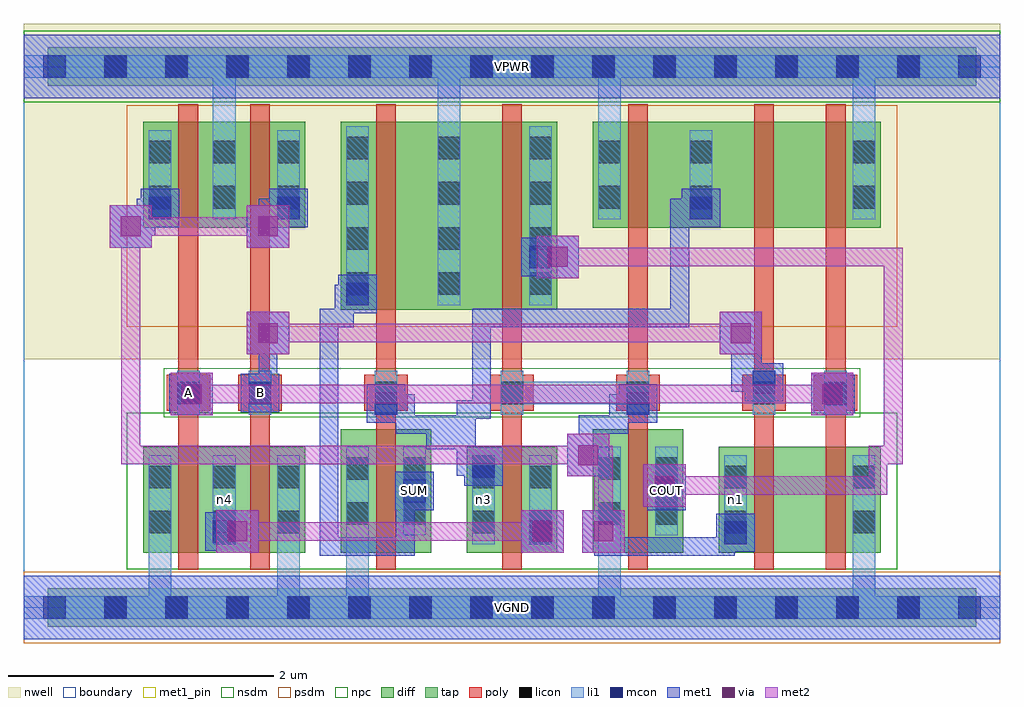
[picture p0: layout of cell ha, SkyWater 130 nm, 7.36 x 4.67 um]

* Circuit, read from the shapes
.subckt ha A B COUT SUM VGND VPWR n1 n3 n4
XM1 n4 A VGND VGND sky130_fd_pr__nfet_01v8 w=0.8 l=0.15
XM2 VGND B n4 VGND sky130_fd_pr__nfet_01v8 w=0.8 l=0.15
XM3 SUM n3 VGND VGND sky130_fd_pr__nfet_01v8 w=0.93 l=0.15
XM4 n4 n1 n3 VGND sky130_fd_pr__nfet_01v8 w=0.8 l=0.15
XM5 COUT n1 VGND VGND sky130_fd_pr__nfet_01v8 w=0.93 l=0.15
XM6 n2 B n1 VGND sky130_fd_pr__nfet_01v8 w=0.8 l=0.15
XM7 VGND A n2 VGND sky130_fd_pr__nfet_01v8 w=0.8 l=0.15
XM8 VPWR A n1 VPWR sky130_fd_pr__pfet_01v8 w=0.8 l=0.15
XM9 n1 B VPWR VPWR sky130_fd_pr__pfet_01v8 w=0.8 l=0.15
XM10 VPWR n3 SUM VPWR sky130_fd_pr__pfet_01v8 w=1.42 l=0.15
XM11 COUT n1 VPWR VPWR sky130_fd_pr__pfet_01v8 w=1.42 l=0.15
XM12 n3 n1 VPWR VPWR sky130_fd_pr__pfet_01v8 w=0.8 l=0.15
XM13 n5 B n3 VPWR sky130_fd_pr__pfet_01v8 w=0.8 l=0.15
XM14 VPWR A n5 VPWR sky130_fd_pr__pfet_01v8 w=0.8 l=0.15
.ends

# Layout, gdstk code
import gdstk
lib = gdstk.Library(unit=1e-6, precision=1e-09)
def R(c, l, rs):  # rectangles x0, y0, x1, y1
    for r in rs: c.add(gdstk.rectangle(r[:2], r[2:], *l))
def A(c, l, x, y, w, h, nx, ny, dx, dy):  # array of equal rectangles
    R(c, l, [(x+i*dx, y+j*dy, x+i*dx+w, y+j*dy+h) for i in range(nx) for j in range(ny)])
nwell = (64, 20)
diff = (65, 20)
tap = (65, 44)
poly = (66, 20)
licon = (66, 44)
li1 = (67, 20)
mcon = (67, 44)
met1_pin = (68, 16)
met1 = (68, 20)
via = (68, 44)
met2 = (69, 20)
nsdm = (93, 44)
psdm = (94, 20)
npc = (95, 20)
boundary = (235, 4)

c_ha = lib.new_cell('ha')
R(c_ha, nwell, [(0,1.875,7.36,4.405)])
R(c_ha, diff, [(0.9,0.415,2.12,1.215), (2.39,0.415,3.07,1.345), (3.34,0.415,4.02,1.215), (4.29,0.415,4.97,1.345), (5.24,0.415,6.46,1.215), (2.39,2.245,4.02,3.665), (0.9,2.865,2.12,3.665), (4.29,2.865,6.46,3.665)])
R(c_ha, tap, [(0.18,-0.145,7.18,0.145), (0.18,3.935,7.18,4.225)])
A(c_ha, poly, 1.705, 0.285, 0.15, 3.51, 5, 1, 0.95, 0)
A(c_ha, poly, 1.615, 1.485, 0.33, 0.27, 5, 1, 0.95, 0)
R(c_ha, poly, [(1.165,0.285,1.315,3.795), (6.045,0.285,6.195,3.795), (1.075,1.485,1.405,1.755), (5.955,1.485,6.285,1.755)])
A(c_ha, licon, 0.605, -0.085, 0.17, 0.17, 14, 2, 0.46, 4.08)
A(c_ha, licon, 0.94, 0.56, 0.17, 0.17, 3, 2, 0.485, 0.34)
A(c_ha, licon, 1.695, 1.535, 0.17, 0.17, 5, 1, 0.95, 0)
A(c_ha, licon, 2.43, 2.36, 0.17, 0.17, 3, 4, 0.69, 0.34)
A(c_ha, licon, 0.94, 3.01, 0.17, 0.17, 3, 2, 0.485, 0.34)
R(c_ha, licon, [(3.38,0.56,3.55,0.73), (3.81,0.56,3.98,0.73), (5.28,0.56,5.45,0.73), (6.25,0.56,6.42,0.73), (2.43,0.625,2.6,0.795), (2.86,0.625,3.03,0.795), (4.33,0.625,4.5,0.795), (4.76,0.625,4.93,0.795), (3.38,0.9,3.55,1.07), (3.81,0.9,3.98,1.07), (5.28,0.9,5.45,1.07), (6.25,0.9,6.42,1.07), (2.43,0.965,2.6,1.135), (2.86,0.965,3.03,1.135), (4.33,0.965,4.5,1.135), (4.76,0.965,4.93,1.135), (1.155,1.535,1.325,1.705), (6.035,1.535,6.205,1.705), (4.33,3.01,4.5,3.18), (5.02,3.01,5.19,3.18), (6.25,3.01,6.42,3.18), (4.33,3.35,4.5,3.52), (5.02,3.35,5.19,3.52), (6.25,3.35,6.42,3.52)])
A(c_ha, li1, 0.94, 0.48, 0.17, 0.67, 3, 2, 0.485, 2.45)
A(c_ha, li1, 1.695, 1.455, 0.17, 0.33, 5, 1, 0.95, 0)
A(c_ha, li1, 2.43, 2.28, 0.17, 1.35, 3, 1, 0.69, 0)
R(c_ha, li1, [(0,-0.085,7.36,0.085), (0.94,-0.085,1.11,1.15), (1.91,-0.085,2.08,1.15), (2.43,-0.085,2.6,1.215), (4.33,-0.085,4.5,1.215), (6.25,-0.085,6.42,1.15), (3.38,0.48,3.55,1.15), (3.81,0.48,3.98,1.15), (5.28,0.48,5.45,1.15), (6.25,0.48,6.42,1.15), (2.43,0.545,2.6,1.215), (2.86,0.545,3.03,1.215), (4.33,0.545,4.5,1.215), (4.76,0.545,4.93,1.215), (1.155,1.455,1.325,1.785), (6.035,1.455,6.205,1.785), (3.595,1.535,4.715,1.705), (3.12,2.28,3.29,4.165), (1.425,2.93,1.595,4.165), (4.33,2.93,4.5,3.6), (4.33,2.93,4.5,4.165), (5.02,2.93,5.19,3.6), (6.25,2.93,6.42,3.6), (6.25,2.93,6.42,4.165), (0,3.995,7.36,4.165)])
A(c_ha, mcon, 0.145, -0.085, 0.17, 0.17, 16, 2, 0.46, 4.08)
R(c_ha, mcon, [(5.28,0.48,5.45,0.65), (1.425,0.49,1.595,0.66), (3.81,0.49,3.98,0.66), (2.86,0.795,3.03,0.965), (4.76,0.795,4.93,0.965), (3.38,0.98,3.55,1.15), (2.645,1.455,2.815,1.625), (4.545,1.455,4.715,1.625), (6.035,1.525,6.205,1.695), (1.155,1.535,1.325,1.705), (1.695,1.535,1.865,1.705), (5.495,1.615,5.665,1.785), (2.43,2.28,2.6,2.45), (3.81,2.56,3.98,2.73), (0.94,2.93,1.11,3.1), (1.91,2.93,2.08,3.1), (5.02,2.93,5.19,3.1)])
R(c_ha, met1_pin, [(0,-0.24,7.36,0.24), (2.8,0.735,3.09,1.025), (4.7,0.735,4.99,1.025), (1.095,1.475,1.385,1.765), (1.635,1.475,1.925,1.765), (0,3.84,7.36,4.32)])
R(c_ha, met1, [(0,-0.24,7.36,0.24), (2.23,0.39,2.945,0.53), (2.23,0.39,2.37,2.255), (2.805,0.39,2.945,0.875), (4.3,0.39,4.44,0.645), (4.3,0.39,5.36,0.53), (5.22,0.39,5.36,0.635), (1.45,0.415,1.77,0.735), (3.75,0.415,4.07,0.735), (4.21,0.415,4.53,0.735), (5.22,0.42,5.51,0.71), (1.365,0.43,1.655,0.72), (3.75,0.43,4.04,0.72), (5.22,0.495,5.435,0.635), (1.44,0.505,1.68,0.645), (3.825,0.505,3.98,0.645), (2.8,0.735,3.09,1.025), (2.805,0.735,2.945,0.875), (4.7,0.735,4.99,1.025), (4.67,0.76,4.99,1.08), (4.76,0.85,4.9,0.99), (3.32,0.92,3.61,1.21), (4.095,0.99,4.415,1.31), (3.265,0.995,3.535,1.135), (3.265,0.995,3.405,1.335), (4.185,1.08,4.325,1.45), (3.035,1.195,3.405,1.335), (3.035,1.195,3.175,1.45), (3.175,1.195,3.265,1.45), (3.265,1.195,3.405,1.565), (2.805,1.31,2.945,1.61), (2.805,1.31,3.175,1.45), (3.175,1.31,3.265,1.45), (4.185,1.31,4.555,1.45), (4.415,1.31,4.555,1.61), (2.585,1.395,2.875,1.685), (4.485,1.395,4.775,1.685), (3.175,1.425,3.265,1.45), (3.265,1.425,3.52,1.565), (3.38,1.425,3.52,2.255), (1.105,1.45,1.425,1.77), (5.935,1.45,6.255,1.77), (5.975,1.465,6.265,1.755), (2.66,1.47,2.945,1.61), (4.415,1.47,4.7,1.61), (1.095,1.475,1.385,1.765), (1.635,1.475,1.925,1.765), (1.195,1.54,1.335,1.68), (1.77,1.54,1.91,1.68), (1.77,1.54,1.91,2.14), (6.025,1.54,6.19,1.68), (5.435,1.555,5.725,1.845), (5.335,1.63,5.475,1.91), (5.335,1.63,5.65,1.77), (5.335,1.77,5.475,2.14), (5.435,1.845,5.565,1.91), (1.68,1.91,2,2.23), (5.245,1.91,5.565,2.23), (2.23,2.115,2.485,2.255), (2.345,2.115,2.485,2.435), (3.38,2.115,5.015,2.255), (4.875,2.115,5.015,2.945), (2.37,2.22,2.66,2.51), (2.345,2.295,2.585,2.435), (3.865,2.485,4.185,2.805), (3.75,2.5,4.04,2.79), (3.825,2.575,4.095,2.715), (0.645,2.715,0.965,3.035), (1.68,2.715,2,3.035), (0.735,2.805,0.99,2.945), (0.85,2.805,0.99,3.085), (1.77,2.805,1.91,3.085), (4.875,2.805,5.015,3.085), (0.88,2.87,1.17,3.16), (1.85,2.87,2.14,3.16), (4.96,2.87,5.25,3.16), (0.85,2.945,1.095,3.085), (1.77,2.945,2.065,3.085), (4.875,2.945,5.175,3.085), (0,3.84,7.36,4.32)])
R(c_ha, via, [(1.535,0.5,1.685,0.65), (3.835,0.5,3.985,0.65), (4.295,0.5,4.445,0.65), (4.755,0.845,4.905,0.995), (4.18,1.075,4.33,1.225), (1.19,1.535,1.34,1.685), (6.02,1.535,6.17,1.685), (1.765,1.995,1.915,2.145), (5.33,1.995,5.48,2.145), (3.95,2.57,4.1,2.72), (0.73,2.8,0.88,2.95), (1.765,2.8,1.915,2.95)])
R(c_ha, met2, [(1.45,0.415,1.77,0.735), (3.75,0.415,4.07,0.735), (4.21,0.415,4.53,0.735), (1.54,0.505,3.98,0.645), (4.3,0.505,4.44,1.22), (4.67,0.76,4.99,1.08), (4.76,0.85,6.51,0.99), (6.37,0.85,6.51,1.22), (4.095,0.99,4.415,1.31), (0.735,1.08,4.325,1.22), (0.735,1.08,0.875,2.945), (4.185,1.08,4.44,1.22), (6.37,1.08,6.625,1.22), (6.485,1.08,6.625,2.715), (1.105,1.45,1.425,1.77), (5.935,1.45,6.255,1.77), (1.195,1.54,6.165,1.68), (1.68,1.91,2,2.23), (5.245,1.91,5.565,2.23), (1.77,2,5.475,2.14), (3.865,2.485,4.185,2.805), (3.955,2.575,6.625,2.715), (0.645,2.715,0.965,3.035), (1.68,2.715,2,3.035), (0.735,2.805,1.91,2.945)])
R(c_ha, nsdm, [(0.775,0.29,6.585,1.47), (0,3.81,7.36,4.35)])
R(c_ha, psdm, [(0,-0.27,7.36,0.27), (0.775,2.12,6.585,3.79)])
R(c_ha, npc, [(1.055,1.435,6.305,1.805)])
R(c_ha, boundary, [(0,0,7.36,4.08)])
c_ha.add(gdstk.Label('n4', (1.51,0.815), layer=67, texttype=5))
c_ha.add(gdstk.Label('n3', (3.465,0.815), layer=67, texttype=5))
c_ha.add(gdstk.Label('n1', (5.365,0.815), layer=67, texttype=5))
c_ha.add(gdstk.Label('A', (1.24,1.62), layer=68, texttype=5))
c_ha.add(gdstk.Label('B', (1.78,1.62), layer=68, texttype=5))
c_ha.add(gdstk.Label('SUM', (2.945,0.88), layer=68, texttype=5))
c_ha.add(gdstk.Label('COUT', (4.845,0.88), layer=68, texttype=5))
c_ha.add(gdstk.Label('VPWR', (3.68,4.08), layer=68, texttype=5))
c_ha.add(gdstk.Label('VGND', (3.68,0), layer=68, texttype=5))
c_ha.add(gdstk.Label('A', (1.24,1.62), layer=68, texttype=16))
c_ha.add(gdstk.Label('B', (1.78,1.62), layer=68, texttype=16))
c_ha.add(gdstk.Label('SUM', (2.945,0.88), layer=68, texttype=16))
c_ha.add(gdstk.Label('COUT', (4.845,0.88), layer=68, texttype=16))
c_ha.add(gdstk.Label('VPWR', (3.68,4.08), layer=68, texttype=16))
c_ha.add(gdstk.Label('VGND', (3.68,0), layer=68, texttype=16))

lib.write_gds('ha.gds')
